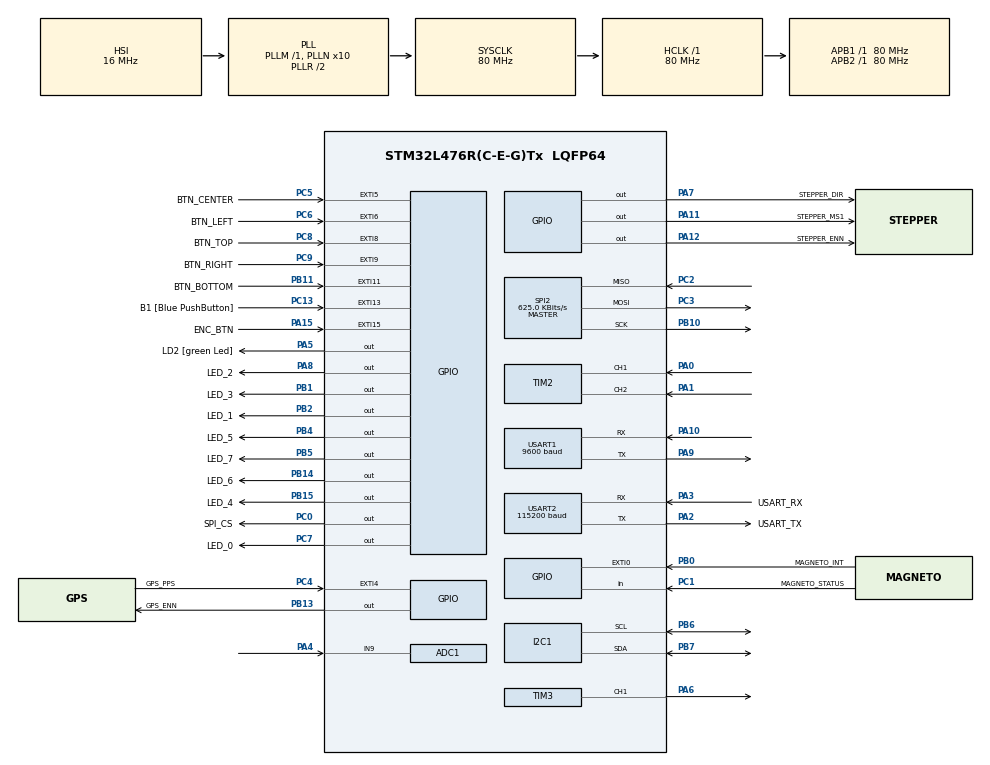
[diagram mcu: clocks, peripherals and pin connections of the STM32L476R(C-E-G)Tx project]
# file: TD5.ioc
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ADC1.Channel-2\#ChannelRegularConversion=ADC_CHANNEL_9
ADC1.ContinuousConvMode=DISABLE
ADC1.ExternalTrigConv=ADC_EXTERNALTRIG_T4_TRGO
ADC1.NbrOfConversionFlag=1
ADC1.OffsetNumber-2\#ChannelRegularConversion=ADC_OFFSET_NONE
ADC1.Rank-2\#ChannelRegularConversion=1
ADC1.SamplingTime-2\#ChannelRegularConversion=ADC_SAMPLETIME_2CYCLES_5
ADC1.master=1
I2C1.Timing=0x10909CEC
Mcu.Family=STM32L4
Mcu.Name=STM32L476R(C-E-G)Tx
Mcu.Package=LQFP64
NVIC.ADC1_2_IRQn=true\:0\:0\:false\:false\:true\:true\:true\:true
NVIC.EXTI15_10_IRQn=true\:0\:0\:false\:false\:true\:true\:true\:true
NVIC.PriorityGroup=NVIC_PRIORITYGROUP_4
NVIC.TIM4_IRQn=true\:0\:0\:false\:false\:true\:true\:true\:true
NVIC.TIM6_DAC_IRQn=true\:15\:0\:false\:false\:true\:false\:true\:true
NVIC.TimeBase=TIM6_DAC_IRQn
NVIC.TimeBaseIP=TIM6
PA0.Signal=S_TIM2_CH1
PA1.Signal=S_TIM2_CH2
PA10.Mode=Asynchronous
PA10.Signal=USART1_RX
PA11.GPIO_Label=STEPPER_MS1
PA11.Signal=GPIO_Output
PA12.GPIO_Label=STEPPER_ENN
PA12.PinState=GPIO_PIN_SET
PA12.Signal=GPIO_Output
PA13\ (JTMS-SWDIO).GPIO_Label=TMS
PA13\ (JTMS-SWDIO).Mode=Trace_Asynchronous_SW
PA13\ (JTMS-SWDIO).Signal=SYS_JTMS-SWDIO
PA14\ (JTCK-SWCLK).GPIO_Label=TCK
PA14\ (JTCK-SWCLK).Mode=Trace_Asynchronous_SW
PA14\ (JTCK-SWCLK).Signal=SYS_JTCK-SWCLK
PA15\ (JTDI).GPIO_Label=ENC_BTN
PA15\ (JTDI).Signal=GPXTI15
PA2.GPIO_Label=USART_TX
PA2.GPIO_Mode=GPIO_MODE_AF_PP
PA2.GPIO_PuPd=GPIO_NOPULL
PA2.GPIO_Speed=GPIO_SPEED_FREQ_VERY_HIGH
PA2.Mode=Asynchronous
PA2.Signal=USART2_TX
PA3.GPIO_Label=USART_RX
PA3.GPIO_Mode=GPIO_MODE_AF_PP
PA3.GPIO_PuPd=GPIO_NOPULL
PA3.GPIO_Speed=GPIO_SPEED_FREQ_VERY_HIGH
PA3.Mode=Asynchronous
PA3.Signal=USART2_RX
PA4.Signal=ADCx_IN9
PA5.GPIO_Label=LD2 [green Led]
PA5.GPIO_ModeDefaultOutputPP=GPIO_MODE_OUTPUT_PP
PA5.GPIO_PuPd=GPIO_NOPULL
PA5.GPIO_Speed=GPIO_SPEED_FREQ_LOW
PA5.Signal=GPIO_Output
PA6.Signal=S_TIM3_CH1
PA7.GPIO_Label=STEPPER_DIR
PA7.Signal=GPIO_Output
PA8.GPIO_Label=LED_2
PA8.Signal=GPIO_Output
PA9.Mode=Asynchronous
PA9.Signal=USART1_TX
PB0.GPIO_Label=MAGNETO_INT
PB0.Signal=GPXTI0
PB1.GPIO_Label=LED_3
PB1.Signal=GPIO_Output
PB10.Mode=Full_Duplex_Master
PB10.Signal=SPI2_SCK
PB11.GPIO_Label=BTN_BOTTOM
PB11.Signal=GPXTI11
PB13.GPIO_Label=GPS_ENN
PB13.Signal=GPIO_Output
PB14.GPIO_Label=LED_6
PB14.Signal=GPIO_Output
PB15.GPIO_Label=LED_4
PB15.Signal=GPIO_Output
PB2.GPIO_Label=LED_1
PB2.Signal=GPIO_Output
PB3\ (JTDO-TRACESWO).Mode=Trace_Asynchronous_SW
PB3\ (JTDO-TRACESWO).Signal=SYS_JTDO-SWO
PB4\ (NJTRST).GPIO_Label=LED_5
PB4\ (NJTRST).Signal=GPIO_Output
PB5.GPIO_Label=LED_7
PB5.Signal=GPIO_Output
PB6.Mode=I2C
PB6.Signal=I2C1_SCL
PB7.Mode=I2C
PB7.Signal=I2C1_SDA
PC0.GPIO_Label=SPI_CS
PC0.PinState=GPIO_PIN_SET
PC0.Signal=GPIO_Output
PC1.GPIO_Label=MAGNETO_STATUS
PC1.Signal=GPIO_Input
PC13.GPIO_Label=B1 [Blue PushButton]
PC13.GPIO_ModeDefaultEXTI=GPIO_MODE_IT_FALLING
PC13.GPIO_PuPd=GPIO_NOPULL
PC13.Signal=GPXTI13
PC14-OSC32_IN\ (PC14).Mode=LSE-External-Oscillator
PC14-OSC32_IN\ (PC14).Signal=RCC_OSC32_IN
PC15-OSC32_OUT\ (PC15).Mode=LSE-External-Oscillator
PC15-OSC32_OUT\ (PC15).Signal=RCC_OSC32_OUT
PC2.Mode=Full_Duplex_Master
PC2.Signal=SPI2_MISO
PC3.Mode=Full_Duplex_Master
PC3.Signal=SPI2_MOSI
PC4.GPIO_Label=GPS_PPS
PC4.Signal=GPXTI4
PC5.GPIO_Label=BTN_CENTER
PC5.Signal=GPXTI5
PC6.GPIO_Label=BTN_LEFT
PC6.Signal=GPXTI6
PC7.GPIO_Label=LED_0
PC7.Signal=GPIO_Output
PC8.GPIO_Label=BTN_TOP
PC8.Signal=GPXTI8
PC9.GPIO_Label=BTN_RIGHT
PC9.Signal=GPXTI9
PH0-OSC_IN\ (PH0).Mode=HSE-External-Oscillator
PH0-OSC_IN\ (PH0).Signal=RCC_OSC_IN
PH1-OSC_OUT\ (PH1).Mode=HSE-External-Oscillator
PH1-OSC_OUT\ (PH1).Signal=RCC_OSC_OUT
ProjectManager.HeapSize=0x200
ProjectManager.StackSize=0x400
ProjectManager.TargetToolchain=STM32CubeIDE
RCC.ADCFreq_Value=64000000
RCC.AHBFreq_Value=80000000
RCC.APB1Freq_Value=80000000
RCC.APB1TimFreq_Value=80000000
RCC.APB2Freq_Value=80000000
RCC.APB2TimFreq_Value=80000000
RCC.CortexFreq_Value=80000000
RCC.HCLKFreq_Value=80000000
RCC.HSE_VALUE=8000000
RCC.HSI_VALUE=16000000
RCC.MSI_VALUE=4000000
RCC.PLLN=10
RCC.PLLSourceVirtual=RCC_PLLSOURCE_HSI
RCC.PREFETCH_ENABLE=1
RCC.SYSCLKFreq_VALUE=80000000
RCC.SYSCLKSource=RCC_SYSCLKSOURCE_PLLCLK
RCC.USBFreq_Value=64000000
RCC.VCOOutputFreq_Value=160000000
SH.ADCx_IN9.0=ADC1_IN9,IN9-Single-Ended
SH.S_TIM2_CH1.0=TIM2_CH1,Encoder_Interface
SH.S_TIM2_CH2.0=TIM2_CH2,Encoder_Interface
SH.S_TIM3_CH1.0=TIM3_CH1,PWM Generation1 CH1
SPI2.BaudRatePrescaler=SPI_BAUDRATEPRESCALER_128
SPI2.CalculateBaudRate=625.0 KBits/s
SPI2.DataSize=SPI_DATASIZE_8BIT
SPI2.Direction=SPI_DIRECTION_2LINES
SPI2.Mode=SPI_MODE_MASTER
SPI2.NSSPMode=SPI_NSS_PULSE_DISABLE
SPI2.VirtualType=VM_MASTER
TIM3.Channel-PWM\ Generation1\ CH1=TIM_CHANNEL_1
TIM4.Period=9999
TIM4.Prescaler=79
TIM4.TIM_MasterOutputTrigger=TIM_TRGO_UPDATE
USART1.BaudRate=9600
USART1.VirtualMode-Asynchronous=VM_ASYNC
USART2.BaudRate=115200
USART2.VirtualMode-Asynchronous=VM_ASYNC
VP_SYS_VS_tim6.Mode=TIM6
VP_TIM3_VS_ClockSourceINT.Mode=Internal
VP_TIM4_VS_ClockSourceINT.Mode=Internal
board=NUCLEO-L476RG

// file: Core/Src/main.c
/* USER CODE BEGIN Header */
/**
  ******************************************************************************
  * @file           : main.c
  * @brief          : Main program body
  ******************************************************************************
  * @attention
  *
  * Copyright (c) 2024 STMicroelectronics.
  * All rights reserved.
  *
  * This software is licensed under terms that can be found in the LICENSE file
  * in the root directory of this software component.
  * If no LICENSE file comes with this software, it is provided AS-IS.
  *
  ******************************************************************************
  */
/* USER CODE END Header */
#include "main.h"
#include "adc.h"
#include "i2c.h"
#include "spi.h"
#include "tim.h"
#include "usart.h"
#include "gpio.h"

/* USER CODE BEGIN Includes */
#include "utils.h"
#include "quiz.h"
#include <stdio.h>
/* USER CODE END Includes */

void SystemClock_Config(void);

/* USER CODE BEGIN 0 */
int __io_putchar(int ch)
{
HAL_UART_Transmit(&huart2, (uint8_t *)&ch, 1, HAL_MAX_DELAY);
return ch;
}
int __io_getchar(void)

{

uint8_t ch = 0;

__HAL_UART_CLEAR_OREFLAG(&huart2);

HAL_UART_Receive(&huart2, (uint8_t *)&ch, 1, HAL_MAX_DELAY);

HAL_UART_Transmit(&huart2, (uint8_t *)&ch, 1, HAL_MAX_DELAY);

return ch;

}
/* USER CODE END 0 */

int main(void)
{

  /* MCU Configuration--------------------------------------------------------*/

  /* Reset of all peripherals, Initializes the Flash interface and the Systick. */
  HAL_Init();

  /* Configure the system clock */
  SystemClock_Config();

  /* Initialize all configured peripherals */
  MX_GPIO_Init();
  MX_USART2_UART_Init();
  MX_I2C1_Init();
  MX_SPI2_Init();
  MX_TIM2_Init();
  MX_TIM3_Init();
  MX_USART1_UART_Init();
  MX_ADC1_Init();
  MX_TIM4_Init();

  /* Infinite loop */
  /* USER CODE BEGIN WHILE */
  setup();
  setup1();
  while (1)
  {
	  loop();
	  loop1();
    /* USER CODE END WHILE */

  }
}

void SystemClock_Config(void)
{
  RCC_OscInitTypeDef RCC_OscInitStruct = {0};
  RCC_ClkInitTypeDef RCC_ClkInitStruct = {0};

  /** Configure the main internal regulator output voltage
  */
  if (HAL_PWREx_ControlVoltageScaling(PWR_REGULATOR_VOLTAGE_SCALE1) != HAL_OK)
  {
    Error_Handler();
  }

  /** Initializes the RCC Oscillators according to the specified parameters
  * in the RCC_OscInitTypeDef structure.
  */
  RCC_OscInitStruct.OscillatorType = RCC_OSCILLATORTYPE_HSI;
  RCC_OscInitStruct.HSIState = RCC_HSI_ON;
  RCC_OscInitStruct.HSICalibrationValue = RCC_HSICALIBRATION_DEFAULT;
  RCC_OscInitStruct.PLL.PLLState = RCC_PLL_ON;
  RCC_OscInitStruct.PLL.PLLSource = RCC_PLLSOURCE_HSI;
  RCC_OscInitStruct.PLL.PLLM = 1;
  RCC_OscInitStruct.PLL.PLLN = 10;
  RCC_OscInitStruct.PLL.PLLP = RCC_PLLP_DIV7;
  RCC_OscInitStruct.PLL.PLLQ = RCC_PLLQ_DIV2;
  RCC_OscInitStruct.PLL.PLLR = RCC_PLLR_DIV2;
  if (HAL_RCC_OscConfig(&RCC_OscInitStruct) != HAL_OK)
  {
    Error_Handler();
  }

  /** Initializes the CPU, AHB and APB buses clocks
  */
  RCC_ClkInitStruct.ClockType = RCC_CLOCKTYPE_HCLK|RCC_CLOCKTYPE_SYSCLK
                              |RCC_CLOCKTYPE_PCLK1|RCC_CLOCKTYPE_PCLK2;
  RCC_ClkInitStruct.SYSCLKSource = RCC_SYSCLKSOURCE_PLLCLK;
  RCC_ClkInitStruct.AHBCLKDivider = RCC_SYSCLK_DIV1;
  RCC_ClkInitStruct.APB1CLKDivider = RCC_HCLK_DIV1;
  RCC_ClkInitStruct.APB2CLKDivider = RCC_HCLK_DIV1;

  if (HAL_RCC_ClockConfig(&RCC_ClkInitStruct, FLASH_LATENCY_4) != HAL_OK)
  {
    Error_Handler();
  }
}

void HAL_TIM_PeriodElapsedCallback(TIM_HandleTypeDef *htim)
{
  if (htim->Instance == TIM6) {
    HAL_IncTick();
  }
}

void Error_Handler(void)
{
  __disable_irq();
  while (1)
  {
  }
}
